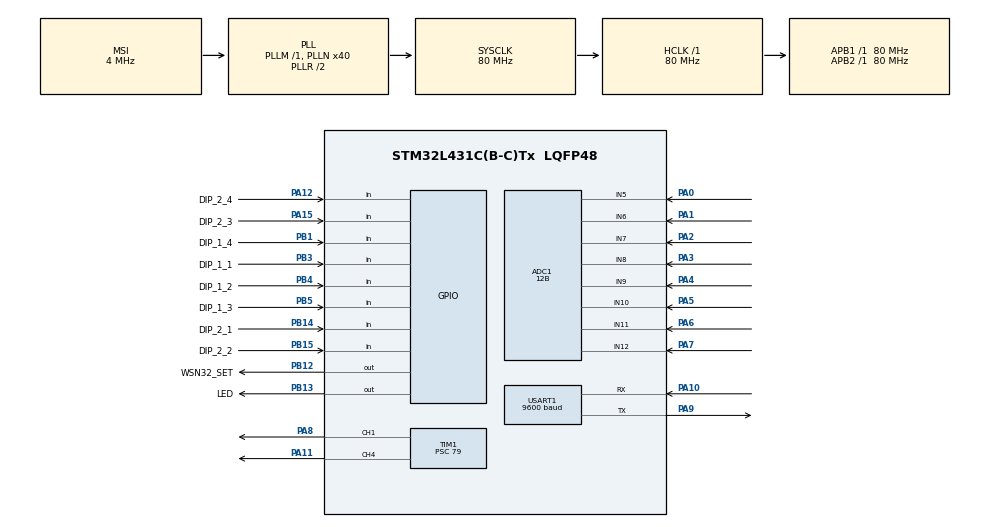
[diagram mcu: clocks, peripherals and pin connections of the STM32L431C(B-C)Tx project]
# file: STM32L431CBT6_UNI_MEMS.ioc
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ADC1.Channel-1\#ChannelRegularConversion=ADC_CHANNEL_5
ADC1.Channel-2\#ChannelRegularConversion=ADC_CHANNEL_6
ADC1.Channel-3\#ChannelRegularConversion=ADC_CHANNEL_7
ADC1.Channel-4\#ChannelRegularConversion=ADC_CHANNEL_8
ADC1.Channel-5\#ChannelRegularConversion=ADC_CHANNEL_9
ADC1.Channel-6\#ChannelRegularConversion=ADC_CHANNEL_10
ADC1.Channel-7\#ChannelRegularConversion=ADC_CHANNEL_11
ADC1.Channel-8\#ChannelRegularConversion=ADC_CHANNEL_12
ADC1.ClockPrescaler=ADC_CLOCK_ASYNC_DIV1
ADC1.ContinuousConvMode=ENABLE
ADC1.DMAContinuousRequests=DISABLE
ADC1.EOCSelection=ADC_EOC_SINGLE_CONV
ADC1.NbrOfConversion=8
ADC1.NbrOfConversionFlag=1
ADC1.OffsetNumber-1\#ChannelRegularConversion=ADC_OFFSET_NONE
ADC1.OffsetNumber-2\#ChannelRegularConversion=ADC_OFFSET_NONE
ADC1.OffsetNumber-3\#ChannelRegularConversion=ADC_OFFSET_NONE
ADC1.OffsetNumber-4\#ChannelRegularConversion=ADC_OFFSET_NONE
ADC1.OffsetNumber-5\#ChannelRegularConversion=ADC_OFFSET_NONE
ADC1.OffsetNumber-6\#ChannelRegularConversion=ADC_OFFSET_NONE
ADC1.OffsetNumber-7\#ChannelRegularConversion=ADC_OFFSET_NONE
ADC1.OffsetNumber-8\#ChannelRegularConversion=ADC_OFFSET_NONE
ADC1.Overrun=ADC_OVR_DATA_PRESERVED
ADC1.Rank-1\#ChannelRegularConversion=1
ADC1.Rank-2\#ChannelRegularConversion=2
ADC1.Rank-3\#ChannelRegularConversion=3
ADC1.Rank-4\#ChannelRegularConversion=4
ADC1.Rank-5\#ChannelRegularConversion=5
ADC1.Rank-6\#ChannelRegularConversion=6
ADC1.Rank-7\#ChannelRegularConversion=7
ADC1.Rank-8\#ChannelRegularConversion=8
ADC1.Resolution=ADC_RESOLUTION_12B
ADC1.SamplingTime-1\#ChannelRegularConversion=ADC_SAMPLETIME_640CYCLES_5
ADC1.SamplingTime-2\#ChannelRegularConversion=ADC_SAMPLETIME_640CYCLES_5
ADC1.SamplingTime-3\#ChannelRegularConversion=ADC_SAMPLETIME_640CYCLES_5
ADC1.SamplingTime-4\#ChannelRegularConversion=ADC_SAMPLETIME_640CYCLES_5
ADC1.SamplingTime-5\#ChannelRegularConversion=ADC_SAMPLETIME_640CYCLES_5
ADC1.SamplingTime-6\#ChannelRegularConversion=ADC_SAMPLETIME_640CYCLES_5
ADC1.SamplingTime-7\#ChannelRegularConversion=ADC_SAMPLETIME_640CYCLES_5
ADC1.SamplingTime-8\#ChannelRegularConversion=ADC_SAMPLETIME_640CYCLES_5
ADC1.master=1
Dma.Request0=USART1_RX
Dma.Request1=USART1_TX
Dma.USART1_RX.0.Direction=DMA_PERIPH_TO_MEMORY
Dma.USART1_RX.0.Instance=DMA1_Channel5
Dma.USART1_RX.0.MemDataAlignment=DMA_MDATAALIGN_BYTE
Dma.USART1_RX.0.MemInc=DMA_MINC_ENABLE
Dma.USART1_RX.0.Mode=DMA_CIRCULAR
Dma.USART1_RX.0.PeriphDataAlignment=DMA_PDATAALIGN_BYTE
Dma.USART1_RX.0.PeriphInc=DMA_PINC_DISABLE
Dma.USART1_RX.0.Priority=DMA_PRIORITY_MEDIUM
Dma.USART1_TX.1.Direction=DMA_MEMORY_TO_PERIPH
Dma.USART1_TX.1.Instance=DMA1_Channel4
Dma.USART1_TX.1.MemDataAlignment=DMA_MDATAALIGN_BYTE
Dma.USART1_TX.1.MemInc=DMA_MINC_ENABLE
Dma.USART1_TX.1.Mode=DMA_CIRCULAR
Dma.USART1_TX.1.PeriphDataAlignment=DMA_PDATAALIGN_BYTE
Dma.USART1_TX.1.PeriphInc=DMA_PINC_DISABLE
Dma.USART1_TX.1.Priority=DMA_PRIORITY_MEDIUM
FREERTOS.Tasks01=defaultTask,0,128,StartDefaultTask,Default,NULL,Dynamic,NULL,NULL;DAQ_Task,0,1024,Apptask_DAQ,Default,NULL,Dynamic,NULL,NULL;LED_Task,0,128,Apptask_LED,Default,NULL,Dynamic,NULL,NULL;PWM_Task,0,128,Apptask_PWM,Default,NULL,Dynamic,NULL,NULL
FREERTOS.configTOTAL_HEAP_SIZE=30000
Mcu.Family=STM32L4
Mcu.Name=STM32L431C(B-C)Tx
Mcu.Package=LQFP48
NVIC.DMA1_Channel4_IRQn=true\:5\:0\:false\:false\:true\:true\:false\:true\:true
NVIC.DMA1_Channel5_IRQn=true\:5\:0\:false\:false\:true\:true\:false\:true\:true
NVIC.PriorityGroup=NVIC_PRIORITYGROUP_4
NVIC.TIM6_DAC_IRQn=true\:15\:0\:false\:false\:true\:false\:false\:true\:true
NVIC.TimeBase=TIM6_DAC_IRQn
NVIC.TimeBaseIP=TIM6
NVIC.USART1_IRQn=true\:5\:0\:false\:false\:true\:true\:true\:true\:true
PA0.Signal=ADCx_IN5
PA1.Signal=ADCx_IN6
PA10.Mode=Asynchronous
PA10.Signal=USART1_RX
PA11.Signal=S_TIM1_CH4
PA12.GPIO_Label=DIP_2_4
PA12.Signal=GPIO_Input
PA13\ (JTMS-SWDIO).Mode=Serial_Wire
PA13\ (JTMS-SWDIO).Signal=SYS_JTMS-SWDIO
PA14\ (JTCK-SWCLK).Mode=Serial_Wire
PA14\ (JTCK-SWCLK).Signal=SYS_JTCK-SWCLK
PA15\ (JTDI).GPIO_Label=DIP_2_3
PA15\ (JTDI).Signal=GPIO_Input
PA2.Signal=ADCx_IN7
PA3.Signal=ADCx_IN8
PA4.Signal=ADCx_IN9
PA5.Signal=ADCx_IN10
PA6.Signal=ADCx_IN11
PA7.Signal=ADCx_IN12
PA8.Signal=S_TIM1_CH1
PA9.Mode=Asynchronous
PA9.Signal=USART1_TX
PB1.GPIO_Label=DIP_1_4
PB1.Signal=GPIO_Input
PB12.GPIO_Label=WSN32_SET
PB12.GPIO_ModeDefaultOutputPP=GPIO_MODE_OUTPUT_PP
PB12.GPIO_PuPd=GPIO_NOPULL
PB12.Signal=GPIO_Output
PB13.GPIO_Label=LED
PB13.GPIO_ModeDefaultOutputPP=GPIO_MODE_OUTPUT_PP
PB13.GPIO_PuPd=GPIO_PULLUP
PB13.PinState=GPIO_PIN_RESET
PB13.Signal=GPIO_Output
PB14.GPIO_Label=DIP_2_1
PB14.Signal=GPIO_Input
PB15.GPIO_Label=DIP_2_2
PB15.Signal=GPIO_Input
PB3\ (JTDO-TRACESWO).GPIO_Label=DIP_1_1
PB3\ (JTDO-TRACESWO).Signal=GPIO_Input
PB4\ (NJTRST).GPIO_Label=DIP_1_2
PB4\ (NJTRST).Signal=GPIO_Input
PB5.GPIO_Label=DIP_1_3
PB5.Signal=GPIO_Input
PH0-OSC_IN\ (PH0).Mode=HSE-External-Oscillator
PH0-OSC_IN\ (PH0).Signal=RCC_OSC_IN
PH1-OSC_OUT\ (PH1).Mode=HSE-External-Oscillator
PH1-OSC_OUT\ (PH1).Signal=RCC_OSC_OUT
ProjectManager.HeapSize=0x200
ProjectManager.StackSize=0x400
ProjectManager.TargetToolchain=STM32CubeIDE
RCC.ADCFreq_Value=80000000
RCC.AHBFreq_Value=80000000
RCC.APB1Freq_Value=80000000
RCC.APB1TimFreq_Value=80000000
RCC.APB2Freq_Value=80000000
RCC.APB2TimFreq_Value=80000000
RCC.CortexFreq_Value=80000000
RCC.HCLKFreq_Value=80000000
RCC.HSE_VALUE=8000000
RCC.HSI48_VALUE=48000000
RCC.HSI_VALUE=16000000
RCC.LSE_VALUE=32768
RCC.MSI_VALUE=4000000
RCC.PLLN=40
RCC.PLLSAI1N=40
RCC.SYSCLKFreq_VALUE=80000000
RCC.SYSCLKSource=RCC_SYSCLKSOURCE_PLLCLK
RCC.VCOOutputFreq_Value=160000000
SH.ADCx_IN10.0=ADC1_IN10,IN10-Single-Ended
SH.ADCx_IN11.0=ADC1_IN11,IN11-Single-Ended
SH.ADCx_IN12.0=ADC1_IN12,IN12-Single-Ended
SH.ADCx_IN5.0=ADC1_IN5,IN5-Single-Ended
SH.ADCx_IN6.0=ADC1_IN6,IN6-Single-Ended
SH.ADCx_IN7.0=ADC1_IN7,IN7-Single-Ended
SH.ADCx_IN8.0=ADC1_IN8,IN8-Single-Ended
SH.ADCx_IN9.0=ADC1_IN9,IN9-Single-Ended
SH.S_TIM1_CH1.0=TIM1_CH1,PWM Generation1 CH1
SH.S_TIM1_CH4.0=TIM1_CH4,PWM Generation4 CH4
TIM1.AutoReloadPreload=TIM_AUTORELOAD_PRELOAD_ENABLE
TIM1.Channel-PWM\ Generation1\ CH1=TIM_CHANNEL_1
TIM1.Channel-PWM\ Generation4\ CH4=TIM_CHANNEL_4
TIM1.OCPolarity_4=TIM_OCPOLARITY_HIGH
TIM1.Period=999
TIM1.Prescaler=79
TIM1.Pulse-PWM\ Generation1\ CH1=500
TIM1.Pulse-PWM\ Generation4\ CH4=500
TIM2.Period=499
TIM2.Prescaler=49999
TIM2.TIM_MasterOutputTrigger=TIM_TRGO_UPDATE
USART1.BaudRate=9600
USART1.VirtualMode-Asynchronous=VM_ASYNC
VP_FREERTOS_VS_CMSIS_V1.Mode=CMSIS_V1
VP_SYS_VS_tim6.Mode=TIM6
VP_TIM1_VS_ClockSourceINT.Mode=Internal
VP_TIM1_VS_ClockSourceITR.Mode=TriggerSource_ITR3
VP_TIM2_VS_ClockSourceINT.Mode=Internal
board=custom

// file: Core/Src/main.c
/* USER CODE BEGIN Header */
/**
  ******************************************************************************
  * @file           : main.c
  * @brief          : Main program body
  ******************************************************************************
  * @attention
  *
  * Copyright (c) 2024 STMicroelectronics.
  * All rights reserved.
  *
  * This software is licensed under terms that can be found in the LICENSE file
  * in the root directory of this software component.
  * If no LICENSE file comes with this software, it is provided AS-IS.
  *
  ******************************************************************************
  */
/* USER CODE END Header */
#include "main.h"
#include "cmsis_os.h"
#include "adc.h"
#include "dma.h"
#include "tim.h"
#include "usart.h"
#include "gpio.h"

void SystemClock_Config(void);
void MX_FREERTOS_Init(void);

int main(void)
{

  /* MCU Configuration--------------------------------------------------------*/

  /* Reset of all peripherals, Initializes the Flash interface and the Systick. */
  HAL_Init();

  /* Configure the system clock */
  SystemClock_Config();

  /* Initialize all configured peripherals */
  MX_GPIO_Init();
  MX_DMA_Init();
  MX_USART1_UART_Init();
  MX_ADC1_Init();
  MX_TIM2_Init();
  MX_TIM1_Init();

  /* Call init function for freertos objects (in cmsis_os2.c) */
  MX_FREERTOS_Init();

  /* Start scheduler */
  osKernelStart();

  /* We should never get here as control is now taken by the scheduler */

  /* Infinite loop */
  while (1)
  {

  }
}

void SystemClock_Config(void)
{
  RCC_OscInitTypeDef RCC_OscInitStruct = {0};
  RCC_ClkInitTypeDef RCC_ClkInitStruct = {0};

  /** Configure the main internal regulator output voltage
  */
  if (HAL_PWREx_ControlVoltageScaling(PWR_REGULATOR_VOLTAGE_SCALE1) != HAL_OK)
  {
    Error_Handler();
  }

  /** Initializes the RCC Oscillators according to the specified parameters
  * in the RCC_OscInitTypeDef structure.
  */
  RCC_OscInitStruct.OscillatorType = RCC_OSCILLATORTYPE_MSI;
  RCC_OscInitStruct.MSIState = RCC_MSI_ON;
  RCC_OscInitStruct.MSICalibrationValue = 0;
  RCC_OscInitStruct.MSIClockRange = RCC_MSIRANGE_6;
  RCC_OscInitStruct.PLL.PLLState = RCC_PLL_ON;
  RCC_OscInitStruct.PLL.PLLSource = RCC_PLLSOURCE_MSI;
  RCC_OscInitStruct.PLL.PLLM = 1;
  RCC_OscInitStruct.PLL.PLLN = 40;
  RCC_OscInitStruct.PLL.PLLP = RCC_PLLP_DIV7;
  RCC_OscInitStruct.PLL.PLLQ = RCC_PLLQ_DIV2;
  RCC_OscInitStruct.PLL.PLLR = RCC_PLLR_DIV2;
  if (HAL_RCC_OscConfig(&RCC_OscInitStruct) != HAL_OK)
  {
    Error_Handler();
  }

  /** Initializes the CPU, AHB and APB buses clocks
  */
  RCC_ClkInitStruct.ClockType = RCC_CLOCKTYPE_HCLK|RCC_CLOCKTYPE_SYSCLK
                              |RCC_CLOCKTYPE_PCLK1|RCC_CLOCKTYPE_PCLK2;
  RCC_ClkInitStruct.SYSCLKSource = RCC_SYSCLKSOURCE_PLLCLK;
  RCC_ClkInitStruct.AHBCLKDivider = RCC_SYSCLK_DIV1;
  RCC_ClkInitStruct.APB1CLKDivider = RCC_HCLK_DIV1;
  RCC_ClkInitStruct.APB2CLKDivider = RCC_HCLK_DIV1;

  if (HAL_RCC_ClockConfig(&RCC_ClkInitStruct, FLASH_LATENCY_4) != HAL_OK)
  {
    Error_Handler();
  }
}

void HAL_TIM_PeriodElapsedCallback(TIM_HandleTypeDef *htim)
{
  if (htim->Instance == TIM6) {
    HAL_IncTick();
  }
}

void Error_Handler(void)
{
  __disable_irq();
  while (1)
  {
  }
}

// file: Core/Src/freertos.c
/* USER CODE BEGIN Header */
/**
  ******************************************************************************
  * File Name          : freertos.c
  * Description        : Code for freertos applications
  ******************************************************************************
  * @attention
  *
  * Copyright (c) 2024 STMicroelectronics.
  * All rights reserved.
  *
  * This software is licensed under terms that can be found in the LICENSE file
  * in the root directory of this software component.
  * If no LICENSE file comes with this software, it is provided AS-IS.
  *
  ******************************************************************************
  */
/* USER CODE END Header */

#include "FreeRTOS.h"
#include "task.h"
#include "main.h"
#include "cmsis_os.h"

/* USER CODE BEGIN Includes */
#include "tim.h"
#include "adc.h"
#include "usart.h"
#include "stdio.h"
#include "stdlib.h"
#include <string.h>
#include "wsn31.h"
/* USER CODE END Includes */

/* USER CODE BEGIN PTD */
void GetChipID ( uint32_t *id )
{
   //小端模式
    id[0] = * ( int32_t * ) ( 0x1fff7590 );
    id[1] = * ( int32_t * ) ( 0x1fff7594 );
    id[2] = * ( int32_t * ) ( 0x1fff7598 );
}

/* USER CODE END PTD */

/* USER CODE BEGIN Variables */
#define NUM_DIP_PINS   4
#define NUM_SENSORS 8  // 传感器的数量
float x_est[NUM_SENSORS] = {0};  // 估计状�?�初始化�?0
float p_est[NUM_SENSORS] = {1};  // 误差协方差初始化�?1
float q = 0.01;                  // 过程噪声
float r = 7;                    // 观测噪声
float k[NUM_SENSORS];            // 卡尔曼增�?
//int numBytes;    // 将保存sprintf返回的字符数
char JSON_Buffer[256];
/* USER CODE END Variables */
osThreadId defaultTaskHandle;
osThreadId DAQ_TaskHandle;
osThreadId LED_TaskHandle;
osThreadId PWM_TaskHandle;

/* USER CODE BEGIN FunctionPrototypes */
void GetChipID ( uint32_t *id );
void apply_moving_average_filter(float* input, float* output, int length);
/* USER CODE END FunctionPrototypes */

void StartDefaultTask(void const * argument);
void Apptask_DAQ(void const * argument);
void Apptask_LED(void const * argument);
void Apptask_PWM(void const * argument);

void MX_FREERTOS_Init(void); /* (MISRA C 2004 rule 8.1) */

/* GetIdleTaskMemory prototype (linked to static allocation support) */
void vApplicationGetIdleTaskMemory( StaticTask_t **ppxIdleTaskTCBBuffer, StackType_t **ppxIdleTaskStackBuffer, uint32_t *pulIdleTaskStackSize );

/* USER CODE BEGIN GET_IDLE_TASK_MEMORY */
static StaticTask_t xIdleTaskTCBBuffer;
static StackType_t xIdleStack[configMINIMAL_STACK_SIZE];

void vApplicationGetIdleTaskMemory( StaticTask_t **ppxIdleTaskTCBBuffer, StackType_t **ppxIdleTaskStackBuffer, uint32_t *pulIdleTaskStackSize )
{
  *ppxIdleTaskTCBBuffer = &xIdleTaskTCBBuffer;
  *ppxIdleTaskStackBuffer = &xIdleStack[0];
  *pulIdleTaskStackSize = configMINIMAL_STACK_SIZE;
  /* place for user code */
}

/* USER CODE END GET_IDLE_TASK_MEMORY */

void MX_FREERTOS_Init(void) {

  /* Create the thread(s) */
  /* definition and creation of defaultTask */
  osThreadDef(defaultTask, StartDefaultTask, osPriorityNormal, 0, 128);
  defaultTaskHandle = osThreadCreate(osThread(defaultTask), NULL);

  /* definition and creation of DAQ_Task */
  osThreadDef(DAQ_Task, Apptask_DAQ, osPriorityNormal, 0, 1024);
  DAQ_TaskHandle = osThreadCreate(osThread(DAQ_Task), NULL);

  /* definition and creation of LED_Task */
  osThreadDef(LED_Task, Apptask_LED, osPriorityNormal, 0, 128);
  LED_TaskHandle = osThreadCreate(osThread(LED_Task), NULL);

  /* definition and creation of PWM_Task */
  osThreadDef(PWM_Task, Apptask_PWM, osPriorityNormal, 0, 128);
  PWM_TaskHandle = osThreadCreate(osThread(PWM_Task), NULL);

}

void StartDefaultTask(void const * argument)
{
  for(;;)
  {
    osDelay(1);
  }
}

void Apptask_DAQ(void const * argument)
{
	/* USER CODE BEGIN Apptask_DAQ */

	    // ==========================================
	    // 1. 变量定义与初始化 (放在循环外，只执行一次)
	    // ==========================================

	    // 定义足够大的缓存区，防止 JSON 字符串溢出
	    char JSON_Buffer[512];
	    char id[32];
	    const char* NT = "";
	    int row = 0;
	    int col = 0;

	    uint32_t uid = HAL_GetUIDw0();
	    char uid_1[8];
	    sprintf(uid_1, "%08X", uid);
	    char name[24] = "TTM:REN-UNIMEMS-";
	    strcat(name, uid_1);
	  //  MX_USART3_UART_Init_115200();
	    HAL_Delay(2000);
	    HAL_UART_Transmit(&huart1, name, 24, 100);
	    HAL_Delay(1000);
	    HAL_UART_Transmit(&huart1,"TTM:BPS-115200", 14, 100);
	    HAL_Delay(1000);
	    MX_USART1_UART_Init_115200();
	    HAL_UART_Transmit(&huart1,"TTM:TPL-(+4)", 14, 100);
	    HAL_Delay(1000);

	    // 原始 ADC 数据缓存 (8个通道)
	    uint32_t ADC_Value[8] = {0};

	    // 电压值变量 (建议直接用数组 float ad[8] 会更简洁，这里保留你的风格)
	    double ad1, ad2, ad3, ad4, ad5, ad6, ad7, ad8;
	    double res1, res2, res3, res4, res5, res6, res7, res8;
	    double res[8];

	    // 等待系统稳定
	    vTaskDelay(500);

	    /* Infinite loop */
	    for(;;)
	    {
	        // ==========================================
	        // 2. ADC 采集 (轮询模式)
	        // ==========================================
	        for(int k = 0; k < 8; k++)
	        {
	            HAL_ADC_Start(&hadc1);
	            // 等待转换完成，超时时间 20ms
	            if (HAL_ADC_PollForConversion(&hadc1, 20) == HAL_OK)
	            {
	                 // 读取转换结果
	                 ADC_Value[k] = HAL_ADC_GetValue(&hadc1);
	            }
	            // 每次采完一个通道最好清除一下状态，防止数据错位
	            // (视具体 CubeMX 配置而定，通常 Poll 模式不需要手动 Stop，但为了稳妥可以不动)
	        }
	        HAL_ADC_Stop(&hadc1); // 采完一轮后停止

	        // ==========================================
	        // 3. 电压计算 (修复了数组下标越界)
	        // ==========================================
	        // 注意：数组下标是 0 到 7
	        ad1 = (double)(ADC_Value[0] & 0xFFF) * 3300.0f / 4096.0f;
	        ad2 = (double)(ADC_Value[1] & 0xFFF) * 3300.0f / 4096.0f;
	        ad3 = (double)(ADC_Value[2] & 0xFFF) * 3300.0f / 4096.0f;
	        ad4 = (double)(ADC_Value[3] & 0xFFF) * 3300.0f / 4096.0f;
	        ad5 = (double)(ADC_Value[4] & 0xFFF) * 3300.0f / 4096.0f;
	        ad6 = (double)(ADC_Value[5] & 0xFFF) * 3300.0f / 4096.0f;
	        ad7 = (double)(ADC_Value[6] & 0xFFF) * 3300.0f / 4096.0f;
	        ad8 = (double)(ADC_Value[7] & 0xFFF) * 3300.0f / 4096.0f;

//	        res[0] = 33000000.0f / ad1 - 10000.0f;
//	        res[1] = 33000000.0f / ad2 - 10000.0f;
//	        res[2] = 33000000.0f / ad3 - 10000.0f;
//	        res[3] = 33000000.0f / ad4 - 10000.0f;
//	        res[4] = 33000000.0f / ad5 - 10000.0f;
//	        res[5] = 33000000.0f / ad6 - 10000.0f;
//	        res[6] = 33000000.0f / ad7 - 10000.0f;
//	        res[7] = 33000000.0f / ad8 - 10000.0f;

	        res[0] = 33000.0f / ad1 - 10.0f;
	        res[1] = 33000.0f / ad2 - 10.0f;
	        res[2] = 33000.0f / ad3 - 10.0f;
	        res[3] = 33000.0f / ad4 - 10.0f;
	        res[4] = 33000.0f / ad5 - 10.0f;
	        res[5] = 33000.0f / ad6 - 10.0f;
	        res[6] = 33000.0f / ad7 - 10.0f;
	        res[7] = 33000.0f / ad8 - 10.0f;

	        // ==========================================
	        // 4. JSON 组包 (修复格式与换行)
	        // ==========================================
	        memset(JSON_Buffer, 0, sizeof(JSON_Buffer));

	        snprintf(JSON_Buffer, sizeof(JSON_Buffer),
	            "{\"ID\":\"%s\",\"NT\":\"%s\",\"ROW\":%d,\"COL\":%d,"
	            "\"VALS\":[%.2f, %.2f, %.2f, %.2f, %.2f, %.2f, %.2f, %.2f]}\r\n",
	            id,
	            NT,
	            row,
	            col,
	            res[0], res[1], res[2], res[3],
	            res[4], res[5], res[6], res[7]
	        );

	        // ==========================================
	        // 5. 串口发送
	        // ==========================================
	        HAL_UART_Transmit(&huart1, (uint8_t *)JSON_Buffer, strlen(JSON_Buffer), 0xFFFF);

	        // 延时 250ms 进入下一次循环
	        vTaskDelay(1000);
	    }
	  /* USER CODE END Apptask_DAQ */
}

void Apptask_LED(void const * argument)
{
  /* USER CODE BEGIN Apptask_LED */
  /* Infinite loop */
	while (1)
	{
	  HAL_GPIO_TogglePin(GPIOB, GPIO_PIN_13);
	  vTaskDelay(250);
	}
  /* USER CODE END Apptask_LED */
}

void Apptask_PWM(void const * argument)
{
  /* USER CODE BEGIN Apptask_PWM */
  /* Infinite loop */
  HAL_TIM_PWM_Start(&htim1,TIM_CHANNEL_1);
  HAL_TIM_PWM_Start(&htim1,TIM_CHANNEL_4);
  for(;;)
  {
    osDelay(1);
  }
  /* USER CODE END Apptask_PWM */
}
